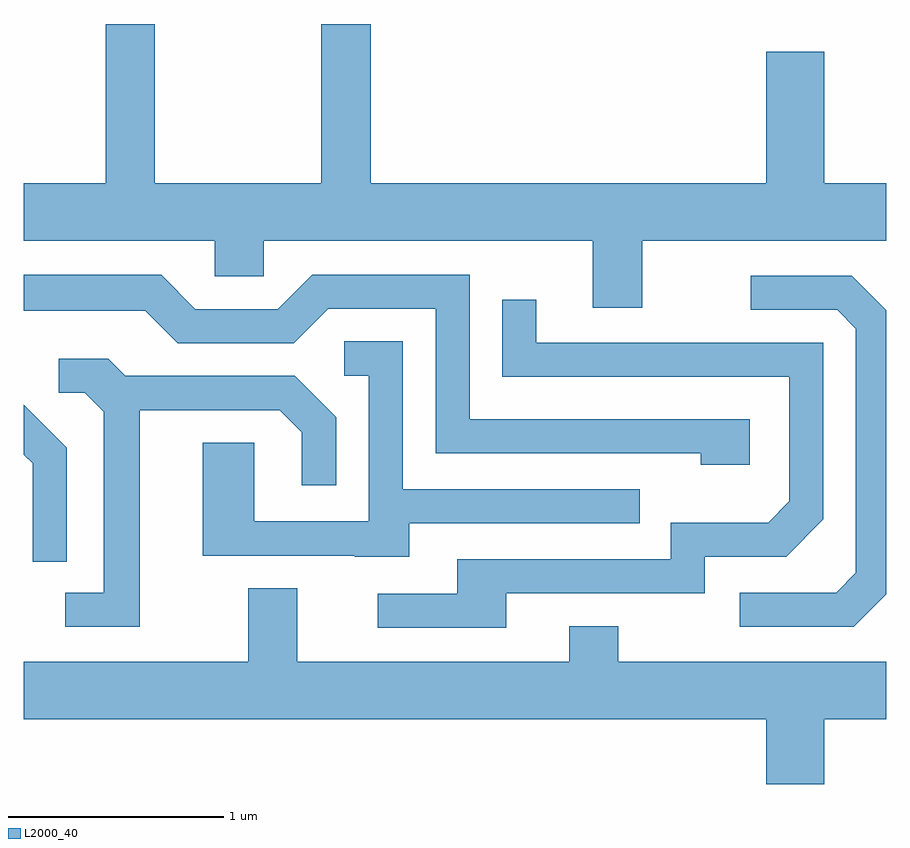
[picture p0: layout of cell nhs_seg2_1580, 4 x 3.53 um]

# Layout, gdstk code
import gdstk
lib = gdstk.Library(unit=1e-6, precision=1e-09)
def P(c, l, *ps):  # polygons
    for p in ps: c.add(gdstk.Polygon(p, *l))
L2000_40 = (2000, 40)

nhs_seg2_1580 = lib.new_cell('nhs_seg2_1580')
P(nhs_seg2_1580, L2000_40, [(234.479,1012.796),(235.611,1012.796),(235.611,1013.064),(235.324,1013.064),(235.324,1013.674),(235.056,1013.674),(235.056,1013.064),(233.219,1013.064),(233.219,1013.802),(232.991,1013.802),(232.991,1013.064),(232.219,1013.064),(232.219,1013.802),(231.991,1013.802),(231.991,1013.064),(231.611,1013.064),(231.611,1012.796),(232.496,1012.796),(232.496,1012.631),(232.724,1012.631),(232.724,1012.796),(234.251,1012.796),(234.251,1012.486),(234.479,1012.486)],
  [(234.979,1011.969),(233.679,1011.969),(233.679,1012.639),(232.949,1012.639),(232.789,1012.479),(232.407,1012.479),(232.247,1012.639),(231.611,1012.639),(231.611,1012.471),(232.174,1012.471),(232.324,1012.321),(232.862,1012.321),(233.022,1012.481),(233.521,1012.481),(233.521,1011.811),(234.751,1011.811),(234.751,1011.756),(234.979,1011.756)],
  [(235.611,1011.156),(235.611,1012.475),(235.452,1012.634),(234.983,1012.634),(234.983,1012.476),(235.384,1012.476),(235.471,1012.389),(235.471,1011.257),(235.379,1011.164),(234.933,1011.164),(234.933,1011.006),(235.462,1011.006)],
  [(233.849,1011.161),(234.769,1011.161),(234.769,1011.331),(235.147,1011.331),(235.319,1011.504),(235.319,1012.324),(233.989,1012.324),(233.989,1012.523),(233.831,1012.523),(233.831,1012.166),(235.161,1012.166),(235.161,1011.587),(235.064,1011.489),(234.611,1011.489),(234.611,1011.319),(233.621,1011.319),(233.621,1011.159),(233.253,1011.159),(233.253,1011.001),(233.849,1011.001)],
  [(233.399,1011.486),(234.468,1011.486),(234.468,1011.644),(233.369,1011.644),(233.369,1012.329),(233.098,1012.329),(233.098,1012.171),(233.211,1012.171),(233.211,1011.494),(232.679,1011.494),(232.679,1011.859),(232.441,1011.859),(232.441,1011.336),(233.145,1011.336),(233.145,1011.331),(233.399,1011.331)],
  [(232.149,1012.011),(232.799,1012.011),(232.901,1011.909),(232.901,1011.663),(233.059,1011.663),(233.059,1011.977),(232.867,1012.169),(232.082,1012.169),(232.002,1012.249),(231.773,1012.249),(231.773,1012.091),(231.894,1012.091),(231.981,1012.004),(231.981,1011.164),(231.803,1011.164),(231.803,1011.006),(232.149,1011.006)],
  [(231.809,1011.837),(231.611,1012.035),(231.611,1011.804),(231.651,1011.764),(231.651,1011.308),(231.809,1011.308)],
  [(235.324,1010.576),(235.611,1010.576),(235.611,1010.844),(234.369,1010.844),(234.369,1011.009),(234.141,1011.009),(234.141,1010.844),(232.879,1010.844),(232.879,1011.184),(232.651,1011.184),(232.651,1010.844),(231.611,1010.844),(231.611,1010.576),(235.056,1010.576),(235.056,1010.276),(235.324,1010.276)])

lib.write_gds('nhs_seg2_1580.gds')
